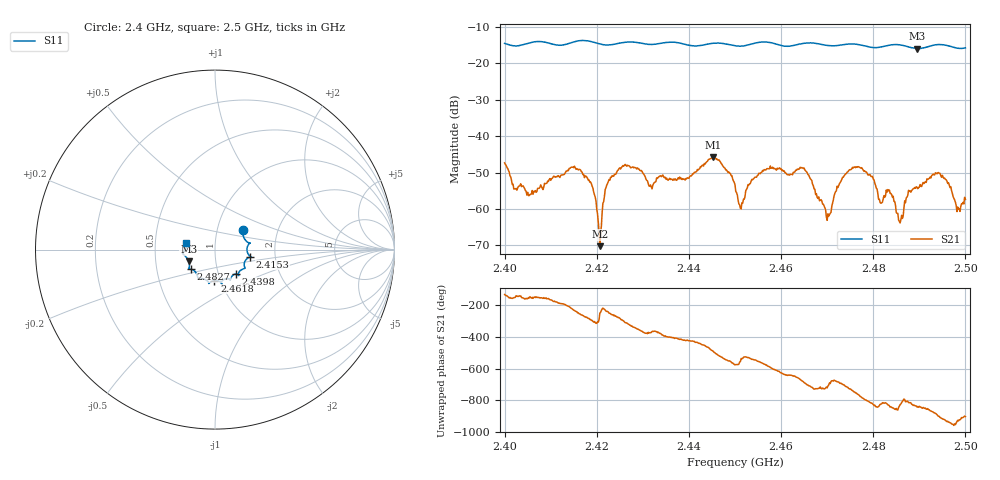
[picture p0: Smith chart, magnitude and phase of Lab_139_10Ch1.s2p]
# Hz S RI R 50
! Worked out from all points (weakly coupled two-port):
!   601 points, 2.4 GHz to 2.5 GHz, reference 50 ohm
!   highest |S21| = -45.81 dB at 2.4453 GHz (marker M1); lowest = -70.2 dB at 2.4207 GHz (marker M2)
!   lowest |S11| = -15.9 dB at 2.4895 GHz (marker M3), VSWR 1.38, Z = 37 - j5.01 ohm
!   |S11| at or under -10 dB: start of sweep to end of sweep
!   S12 and S22 are empty: the file has one direction only
!   S11 on the Smith chart (normalised r, x): 2.4 GHz: 1.33, +0.30; 2.4153 GHz: 1.48, -0.12; 2.4398 GHz: 1.21, -0.34; 2.4618 GHz: 0.94, -0.33; 2.4827 GHz: 0.75, -0.17; 2.5 GHz: 0.72, +0.06
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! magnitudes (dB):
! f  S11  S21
! 2.4 GHz  -14.5  -47.3
! 2.4053 GHz  -14.4  -56.3
! 2.4153 GHz  -14.0  -48.7
! 2.4167 GHz  -13.7  -49.8
! 2.4207 GHz  -14.6  -70.2
! 2.4223 GHz  -14.9  -53.0
! 2.4252 GHz  -14.4  -49.0
! 2.4333 GHz  -14.6  -51.3
! 2.4398 GHz  -15.0  -51.5
! 2.4453 GHz  -14.4  -45.8
! 2.45 GHz  -15.1  -53.3
! 2.4513 GHz  -15.2  -60.0
! 2.4618 GHz  -15.2  -50.7
! 2.4667 GHz  -14.4  -52.2
! 2.4703 GHz  -15.1  -62.0
! 2.4758 GHz  -14.7  -48.5
! 2.4827 GHz  -15.2  -56.4
! 2.4833 GHz  -15.0  -55.0
! 2.486 GHz  -14.9  -62.9
! 2.4895 GHz  -15.9  -54.0
! 2.494 GHz  -14.8  -50.1
! 2.5 GHz  -15.7  -57.4
